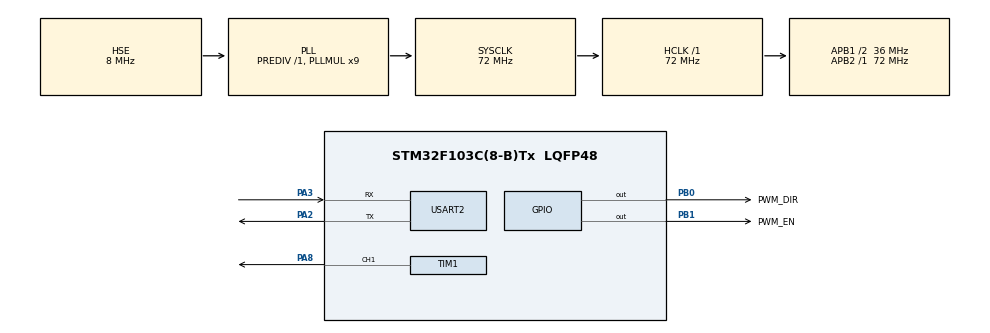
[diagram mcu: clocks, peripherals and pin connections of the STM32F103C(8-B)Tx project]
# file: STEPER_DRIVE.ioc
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Mcu.Family=STM32F1
Mcu.Name=STM32F103C(8-B)Tx
Mcu.Package=LQFP48
NVIC.PriorityGroup=NVIC_PRIORITYGROUP_4
NVIC.USART2_IRQn=true\:0\:0\:false\:false\:true\:true\:true\:true
PA13.Mode=Serial_Wire
PA13.Signal=SYS_JTMS-SWDIO
PA14.Mode=Serial_Wire
PA14.Signal=SYS_JTCK-SWCLK
PA2.Mode=Asynchronous
PA2.Signal=USART2_TX
PA3.Mode=Asynchronous
PA3.Signal=USART2_RX
PA8.Signal=S_TIM1_CH1
PB0.GPIO_Label=PWM_DIR
PB0.Signal=GPIO_Output
PB1.GPIO_Label=PWM_EN
PB1.Signal=GPIO_Output
PD0-OSC_IN.Mode=HSE-External-Oscillator
PD0-OSC_IN.Signal=RCC_OSC_IN
PD1-OSC_OUT.Mode=HSE-External-Oscillator
PD1-OSC_OUT.Signal=RCC_OSC_OUT
ProjectManager.HeapSize=0x200
ProjectManager.StackSize=0x400
ProjectManager.TargetToolchain=MDK-ARM V5.32
RCC.AHBFreq_Value=72000000
RCC.APB1CLKDivider=RCC_HCLK_DIV2
RCC.APB1Freq_Value=36000000
RCC.APB1TimFreq_Value=72000000
RCC.APB2Freq_Value=72000000
RCC.APB2TimFreq_Value=72000000
RCC.HCLKFreq_Value=72000000
RCC.PLLMUL=RCC_PLL_MUL9
RCC.PLLSourceVirtual=RCC_PLLSOURCE_HSE
RCC.SYSCLKFreq_VALUE=72000000
RCC.SYSCLKSource=RCC_SYSCLKSOURCE_PLLCLK
RCC.USBFreq_Value=72000000
SH.S_TIM1_CH1.0=TIM1_CH1,PWM Generation1 CH1
TIM1.Channel-PWM\ Generation1\ CH1=TIM_CHANNEL_1
TIM1.Period=pwm_freq
TIM1.Prescaler=pwm_pre
TIM1.Pulse-PWM\ Generation1\ CH1=pwm_duty
USART2.VirtualMode=VM_ASYNC
VP_TIM1_VS_ClockSourceINT.Mode=Internal
board=custom

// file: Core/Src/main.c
/* USER CODE BEGIN Header */
/**
  ******************************************************************************
  * @file           : main.c
  * @brief          : Main program body
  ******************************************************************************
  * @attention
  *
  * Copyright (c) 2026 STMicroelectronics.
  * All rights reserved.
  *
  * This software is licensed under terms that can be found in the LICENSE file
  * in the root directory of this software component.
  * If no LICENSE file comes with this software, it is provided AS-IS.
  *
  ******************************************************************************
  */
/* USER CODE END Header */
#include "main.h"

/* USER CODE BEGIN Includes */
#include "string.h"

/* USER CODE END Includes */

/* USER CODE BEGIN PTD */
typedef enum
{
    PARSER_OK = 0,
    PARSER_ERROR,
    PARSER_UNKNOWN_CMD,
    PARSER_INVALID_VALUE
} Parser_Status_t;

typedef enum
{
    CMD_NONE = 0,
    CMD_FREQ,
    CMD_DUTY,
    CMD_FORWARD,
    CMD_BACK
} Command_t;

/* USER CODE END PTD */

/* USER CODE BEGIN PD */
#define FORWD_COMM	"forwd"
#define REV_COMM		"backk"
#define FREQ_COMM		"freqq"
#define DUTY_COMM		"dutyy"
#define START_COMM	"start"
#define STOP_COMM		"stopp"
/* how to add NEW COMMANED */
// in Parse_Command add in last if condition
//else if(String_Compare(command, FORWD_COMM))		<----------	FORWD_COMM = you'r commnad
//    {
//        if(value)																<----------  value     = after '$' you'r number
//        {
//						Motor_Stop();
//            Motor_Forward();
//            Motor_Start();
//        }
//
//    }

/* USER CODE END PD */

TIM_HandleTypeDef htim1;

UART_HandleTypeDef huart2;

/* USER CODE BEGIN PV */
		// confige for pwm channle
uint16_t pwm_pre = 72 -1;
uint16_t pwm_freq = 100 -1;
uint16_t pwm_duty = 50;
		// for uart data receive
uint8_t rxByte;
char rxBuffer[50];
uint8_t rxIndex = 0;
uint8_t commandReady = 0;
		// motor variable for steper motor
uint32_t pwmFrequency = 1000;
uint32_t targetFreq = 1000;
uint32_t requestedFreq = 1000;
uint8_t currentDir = 1;
uint8_t targetDir = 1;
uint8_t  pwmDuty = 50;        // %
uint8_t  motorEnable = 0;

/* USER CODE END PV */

void SystemClock_Config(void);
static void MX_GPIO_Init(void);
static void MX_USART2_UART_Init(void);
static void MX_TIM1_Init(void);

/* USER CODE BEGIN 0 */
void Debug_Print(char *msg)
{
    HAL_UART_Transmit(&huart2,
                      (uint8_t*)msg,
                      strlen(msg),
                      100);
}

void TIM2_Calculate(uint32_t freq, uint32_t *psc, uint32_t *arr)
{
    uint32_t timerClock = 72000000;

    *psc = 0;

    while(1)
    {
        *arr = (timerClock / ((*psc + 1) * freq)) - 1;

        if(*arr <= 65535)
        {
            break;
        }

        (*psc)++;

        if(*psc > 65535)
        {
            *psc = 0;
            *arr = 0;
            break;
        }
    }
}

void TIM2_Update(void)
{
    uint32_t psc;
    uint32_t arr;
    uint32_t ccr;

    TIM2_Calculate(pwmFrequency, &psc, &arr);

    TIM1->PSC  = psc;
    TIM1->ARR  = arr;

    ccr = ((arr + 1) * pwmDuty) / 100;

    TIM1->CCR1 = ccr;

    TIM1->CNT  = 0;

    TIM1->EGR  = TIM_EGR_UG;
}

void Motor_SetFrequency(uint32_t freq)
{
    if(freq == 0)
    {
        TIM1->CCR1 = 0;
        pwmFrequency = 0;
        return;
    }

    pwmFrequency = freq;

    TIM2_Update();
}

void Motor_SetDuty(uint8_t duty)
{
    if(duty > 100)
    {
        Debug_Print("ERR: DUTY\r\n");
        return;
    }

    pwmDuty = duty;

    TIM2_Update();

    Debug_Print("OK: DUTY SET\r\n");
}

void Motor_Start(void)
{
    HAL_GPIO_WritePin(PWM_EN_GPIO_Port,
                      PWM_EN_Pin,
                      GPIO_PIN_SET);

    HAL_TIM_PWM_Start(&htim1, TIM_CHANNEL_1);

    motorEnable = 1;

    Debug_Print("MOTOR ON\r\n");
}

void Motor_Stop(void)
{
    HAL_TIM_PWM_Stop(&htim1, TIM_CHANNEL_1);

    HAL_GPIO_WritePin(PWM_EN_GPIO_Port,
                      PWM_EN_Pin,
                      GPIO_PIN_RESET);

    motorEnable = 0;

    Debug_Print("MOTOR OFF\r\n");
}

void Motor_Forward(void)
{
    HAL_GPIO_WritePin(PWM_DIR_GPIO_Port,
                      PWM_DIR_Pin,
                      GPIO_PIN_SET);

    Debug_Print("DIR FWD\r\n");
}

void Motor_Reverse(void)
{
    HAL_GPIO_WritePin(PWM_DIR_GPIO_Port,
                      PWM_DIR_Pin,
                      GPIO_PIN_RESET);

    Debug_Print("DIR REV\r\n");
}

uint8_t String_Compare(char *str1, char *str2)
{
    while(*str1 && *str2)
    {
        if(*str1 != *str2)
            return 0;

        str1++;
        str2++;
    }

    return (*str1 == *str2);
}

uint8_t String_To_Int(char *str, uint32_t *value)
{
    *value = 0;

    if(*str == '\0')
        return 0;

    while(*str)
    {
        if(*str < '0' || *str > '9')
            return 0;

        *value = (*value * 10) + (*str - '0');

        str++;
    }

    return 1;
}

Parser_Status_t Parse_Command(char *rx)
{
    char command[10] = {0};
    char valueStr[10] = {0};

    uint8_t i = 0;
    uint8_t j = 0;
    uint32_t value;

    /* Check start */
    if(rx[0] != '(')
        return PARSER_ERROR;

    /* Extract command */
    i = 1;

    while(rx[i] &&
          rx[i] != '$' &&
          rx[i] != '&' &&
          j < sizeof(command)-1)
    {
        command[j++] = rx[i++];
    }

    command[j] = '\0';

    /* Check separator */
    if(rx[i] != '$' && rx[i] != '&')
        return PARSER_ERROR;

    i++;
    j = 0;

    /* Extract value */
    while(rx[i] &&
          rx[i] != ')' &&
          j < sizeof(valueStr)-1)
    {
        valueStr[j++] = rx[i++];
    }

    valueStr[j] = '\0';

    /* Check end */
    if(rx[i] != ')')
        return PARSER_ERROR;

    /* Convert value */
    if(String_To_Int(valueStr, &value) == 0)
        return PARSER_INVALID_VALUE;

    /* Execute command */

    if(String_Compare(command, FREQ_COMM))
    {
        //Motor_SetFrequency(value);
				targetFreq = value;
				requestedFreq  = value;
    }

    else if(String_Compare(command, DUTY_COMM))
    {
        Motor_SetDuty(value);
    }

    else if(String_Compare(command, FORWD_COMM))
    {
        if(value)
        {
					targetDir = 1;
        }

    }

    else if(String_Compare(command, REV_COMM))
    {
        if(value)
        {
					targetDir = 0;
        }

    }

		else if(String_Compare(command, STOP_COMM))
    {
        if(value)
        {
            targetFreq = 0;
        }
    }

		else if(String_Compare(command, START_COMM))
    {
        if(value)
        {
						targetFreq = requestedFreq;
						Motor_Start();
        }
    }

    else
    {
        return PARSER_UNKNOWN_CMD;
    }

    return PARSER_OK;
}

void smuth_setFreq(void)
{
    static uint32_t lastTick = 0;

    if((HAL_GetTick() - lastTick) < 10)
        return;

    lastTick = HAL_GetTick();

    if(targetFreq > pwmFrequency)
    {
        pwmFrequency += 100;

        if((targetFreq - pwmFrequency) < 100)
            pwmFrequency = targetFreq;
				Motor_SetFrequency(pwmFrequency);
    }
    else if(targetFreq < pwmFrequency)
    {
        if((pwmFrequency - targetFreq) > 100)
            pwmFrequency -= 100;
        else
            pwmFrequency = targetFreq;
				Motor_SetFrequency(pwmFrequency);
    }

}
//void smuth_setFreq(void)
//{
//    static uint32_t lastTick = 0;
//    uint32_t step;

//    if((HAL_GetTick() - lastTick) < 10)
//        return;

//    lastTick = HAL_GetTick();

//    step = pwmFrequency / 20;   // 5%

//    if(step < 1)
//        step = 1;

//    if(step > 500)
//        step = 500;             // safety limit

//    if(targetFreq > pwmFrequency)
//    {
//        pwmFrequency += step;

//        if(pwmFrequency > targetFreq)
//            pwmFrequency = targetFreq;
//    }
//    else if(targetFreq < pwmFrequency)
//    {
//        if((pwmFrequency - targetFreq) > step)
//            pwmFrequency -= step;
//        else
//            pwmFrequency = targetFreq;
//    }

//    Motor_SetFrequency(pwmFrequency);
//}
void Motor_Task(void)
{
    if(currentDir != targetDir)
    {
        targetFreq = 0;

        if(pwmFrequency == 0)
        {
            currentDir = targetDir;

            if(currentDir)
                Motor_Forward();
            else
                Motor_Reverse();

            targetFreq = requestedFreq;
        }
    }

    smuth_setFreq();
}
/* USER CODE END 0 */

int main(void)
{

  /* MCU Configuration--------------------------------------------------------*/

  /* Reset of all peripherals, Initializes the Flash interface and the Systick. */
  HAL_Init();

  /* Configure the system clock */
  SystemClock_Config();

  /* Initialize all configured peripherals */
  MX_GPIO_Init();
  MX_USART2_UART_Init();
  MX_TIM1_Init();
  /* USER CODE BEGIN 2 */
	HAL_Delay(500);
	HAL_UART_Transmit(&huart2,
                  (uint8_t*)"UART OK\r\n",
                  9,
                  100);
	HAL_UART_Receive_IT(&huart2, &rxByte, 1);
	HAL_GPIO_WritePin(PWM_DIR_GPIO_Port,
                  PWM_DIR_Pin,
                  GPIO_PIN_RESET);

HAL_GPIO_WritePin(PWM_EN_GPIO_Port,
                  PWM_EN_Pin,
                  GPIO_PIN_SET);
									HAL_Delay(500);
									//Motor_Start();

  /* USER CODE END 2 */

  /* Infinite loop */
  while (1)
  {
		Parser_Status_t status;

		 Motor_Task();

if(commandReady)
{
    commandReady = 0;

    Debug_Print("RX: ");
    Debug_Print(rxBuffer);
    Debug_Print("\r\n");

    status = Parse_Command(rxBuffer);

    switch(status)
    {
        case PARSER_OK:
            Debug_Print("OK\r\n");
            break;

        case PARSER_ERROR:
            Debug_Print("ERR FRAME\r\n");
            break;

        case PARSER_INVALID_VALUE:
            Debug_Print("ERR VALUE\r\n");
            break;

        case PARSER_UNKNOWN_CMD:
            Debug_Print("ERR CMD\r\n");
            break;

        default:
            break;
    }
}
		//HAL_Delay(5);

  }
}

void SystemClock_Config(void)
{
  RCC_OscInitTypeDef RCC_OscInitStruct = {0};
  RCC_ClkInitTypeDef RCC_ClkInitStruct = {0};

  /** Initializes the RCC Oscillators according to the specified parameters
  * in the RCC_OscInitTypeDef structure.
  */
  RCC_OscInitStruct.OscillatorType = RCC_OSCILLATORTYPE_HSE;
  RCC_OscInitStruct.HSEState = RCC_HSE_ON;
  RCC_OscInitStruct.HSEPredivValue = RCC_HSE_PREDIV_DIV1;
  RCC_OscInitStruct.HSIState = RCC_HSI_ON;
  RCC_OscInitStruct.PLL.PLLState = RCC_PLL_ON;
  RCC_OscInitStruct.PLL.PLLSource = RCC_PLLSOURCE_HSE;
  RCC_OscInitStruct.PLL.PLLMUL = RCC_PLL_MUL9;
  if (HAL_RCC_OscConfig(&RCC_OscInitStruct) != HAL_OK)
  {
    Error_Handler();
  }

  /** Initializes the CPU, AHB and APB buses clocks
  */
  RCC_ClkInitStruct.ClockType = RCC_CLOCKTYPE_HCLK|RCC_CLOCKTYPE_SYSCLK
                              |RCC_CLOCKTYPE_PCLK1|RCC_CLOCKTYPE_PCLK2;
  RCC_ClkInitStruct.SYSCLKSource = RCC_SYSCLKSOURCE_PLLCLK;
  RCC_ClkInitStruct.AHBCLKDivider = RCC_SYSCLK_DIV1;
  RCC_ClkInitStruct.APB1CLKDivider = RCC_HCLK_DIV2;
  RCC_ClkInitStruct.APB2CLKDivider = RCC_HCLK_DIV1;

  if (HAL_RCC_ClockConfig(&RCC_ClkInitStruct, FLASH_LATENCY_2) != HAL_OK)
  {
    Error_Handler();
  }
}

static void MX_TIM1_Init(void)
{

  TIM_ClockConfigTypeDef sClockSourceConfig = {0};
  TIM_MasterConfigTypeDef sMasterConfig = {0};
  TIM_OC_InitTypeDef sConfigOC = {0};
  TIM_BreakDeadTimeConfigTypeDef sBreakDeadTimeConfig = {0};

  htim1.Instance = TIM1;
  htim1.Init.Prescaler = pwm_pre;
  htim1.Init.CounterMode = TIM_COUNTERMODE_UP;
  htim1.Init.Period = pwm_freq;
  htim1.Init.ClockDivision = TIM_CLOCKDIVISION_DIV1;
  htim1.Init.RepetitionCounter = 0;
  htim1.Init.AutoReloadPreload = TIM_AUTORELOAD_PRELOAD_DISABLE;
  if (HAL_TIM_Base_Init(&htim1) != HAL_OK)
  {
    Error_Handler();
  }
  sClockSourceConfig.ClockSource = TIM_CLOCKSOURCE_INTERNAL;
  if (HAL_TIM_ConfigClockSource(&htim1, &sClockSourceConfig) != HAL_OK)
  {
    Error_Handler();
  }
  if (HAL_TIM_PWM_Init(&htim1) != HAL_OK)
  {
    Error_Handler();
  }
  sMasterConfig.MasterOutputTrigger = TIM_TRGO_RESET;
  sMasterConfig.MasterSlaveMode = TIM_MASTERSLAVEMODE_DISABLE;
  if (HAL_TIMEx_MasterConfigSynchronization(&htim1, &sMasterConfig) != HAL_OK)
  {
    Error_Handler();
  }
  sConfigOC.OCMode = TIM_OCMODE_PWM1;
  sConfigOC.Pulse = pwm_duty;
  sConfigOC.OCPolarity = TIM_OCPOLARITY_HIGH;
  sConfigOC.OCNPolarity = TIM_OCNPOLARITY_HIGH;
  sConfigOC.OCFastMode = TIM_OCFAST_DISABLE;
  sConfigOC.OCIdleState = TIM_OCIDLESTATE_RESET;
  sConfigOC.OCNIdleState = TIM_OCNIDLESTATE_RESET;
  if (HAL_TIM_PWM_ConfigChannel(&htim1, &sConfigOC, TIM_CHANNEL_1) != HAL_OK)
  {
    Error_Handler();
  }
  sBreakDeadTimeConfig.OffStateRunMode = TIM_OSSR_DISABLE;
  sBreakDeadTimeConfig.OffStateIDLEMode = TIM_OSSI_DISABLE;
  sBreakDeadTimeConfig.LockLevel = TIM_LOCKLEVEL_OFF;
  sBreakDeadTimeConfig.DeadTime = 0;
  sBreakDeadTimeConfig.BreakState = TIM_BREAK_DISABLE;
  sBreakDeadTimeConfig.BreakPolarity = TIM_BREAKPOLARITY_HIGH;
  sBreakDeadTimeConfig.AutomaticOutput = TIM_AUTOMATICOUTPUT_DISABLE;
  if (HAL_TIMEx_ConfigBreakDeadTime(&htim1, &sBreakDeadTimeConfig) != HAL_OK)
  {
    Error_Handler();
  }
  HAL_TIM_MspPostInit(&htim1);

}

static void MX_USART2_UART_Init(void)
{

  huart2.Instance = USART2;
  huart2.Init.BaudRate = 115200;
  huart2.Init.WordLength = UART_WORDLENGTH_8B;
  huart2.Init.StopBits = UART_STOPBITS_1;
  huart2.Init.Parity = UART_PARITY_NONE;
  huart2.Init.Mode = UART_MODE_TX_RX;
  huart2.Init.HwFlowCtl = UART_HWCONTROL_NONE;
  huart2.Init.OverSampling = UART_OVERSAMPLING_16;
  if (HAL_UART_Init(&huart2) != HAL_OK)
  {
    Error_Handler();
  }

}

static void MX_GPIO_Init(void)
{
  GPIO_InitTypeDef GPIO_InitStruct = {0};

  /* GPIO Ports Clock Enable */
  __HAL_RCC_GPIOD_CLK_ENABLE();
  __HAL_RCC_GPIOA_CLK_ENABLE();
  __HAL_RCC_GPIOB_CLK_ENABLE();

  /*Configure GPIO pin Output Level */
  HAL_GPIO_WritePin(GPIOB, PWM_DIR_Pin|PWM_EN_Pin, GPIO_PIN_RESET);

  /*Configure GPIO pins : PWM_DIR_Pin PWM_EN_Pin */
  GPIO_InitStruct.Pin = PWM_DIR_Pin|PWM_EN_Pin;
  GPIO_InitStruct.Mode = GPIO_MODE_OUTPUT_PP;
  GPIO_InitStruct.Pull = GPIO_NOPULL;
  GPIO_InitStruct.Speed = GPIO_SPEED_FREQ_LOW;
  HAL_GPIO_Init(GPIOB, &GPIO_InitStruct);

}

/* USER CODE BEGIN 4 */
void HAL_UART_RxCpltCallback(UART_HandleTypeDef *huart)
{
    if(huart->Instance == USART2)
    {
        if(rxByte == '\n')
        {
            rxBuffer[rxIndex] = '\0';
            rxIndex = 0;
            commandReady = 1;
        }
        else
        {
            if(rxIndex < sizeof(rxBuffer)-1)
						{
								rxBuffer[rxIndex++] = rxByte;
						}
						else
						{
								rxIndex = 0;
								//Debug_Print("ERR: RX Overflow\r\n");
						}
        }

        // Restart UART interrupt
        HAL_UART_Receive_IT(&huart2, &rxByte, 1);
    }
}

/* USER CODE END 4 */

void Error_Handler(void)
{
  __disable_irq();
  while (1)
  {
  }
}
